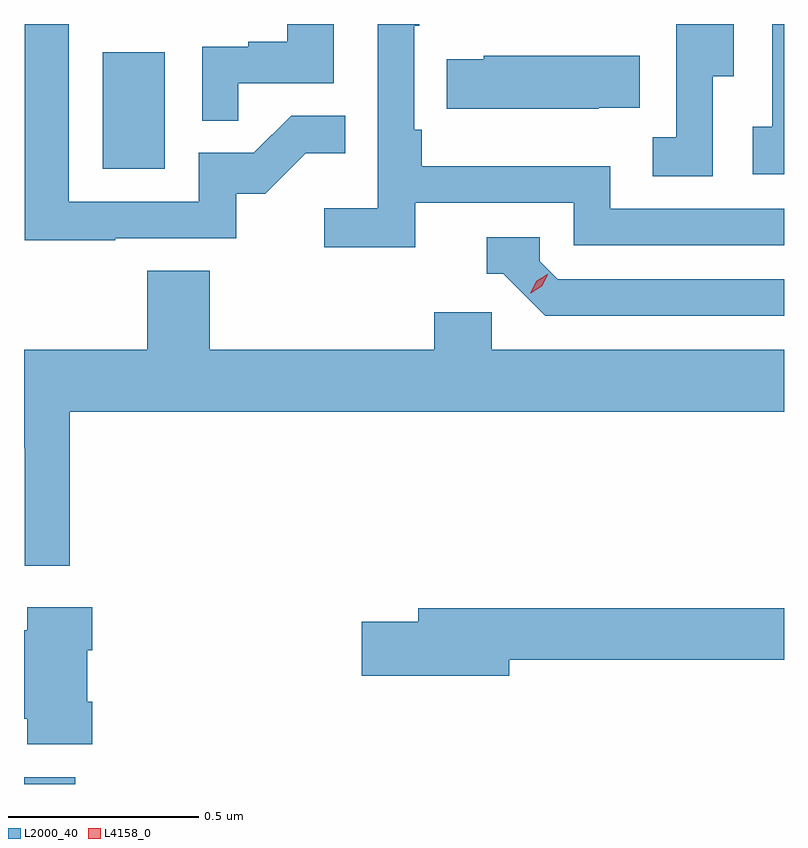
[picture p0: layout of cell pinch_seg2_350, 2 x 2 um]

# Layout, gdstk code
import gdstk
lib = gdstk.Library(unit=1e-6, precision=1e-09)
def R(c, l, rs):  # rectangles x0, y0, x1, y1
    for r in rs: c.add(gdstk.rectangle(r[:2], r[2:], *l))
def P(c, l, *ps):  # polygons
    for p in ps: c.add(gdstk.Polygon(p, *l))
L2000_40 = (2000, 40)
L4158_0 = (4158, 0)

pinch_seg2_350 = lib.new_cell('pinch_seg2_350')
R(pinch_seg2_350, L2000_40, [(993.839,641.329,993.974,641.347), (994.046,642.948,994.21,643.255)])
P(pinch_seg2_350, L2000_40, [(994.403,643.173),(994.654,643.173),(994.654,643.329),(994.532,643.329),(994.532,643.282),(994.429,643.282),(994.429,643.269),(994.308,643.269),(994.308,643.075),(994.403,643.075)],
  [(994.868,642.858),(995.286,642.858),(995.286,642.747),(995.839,642.747),(995.839,642.843),(995.382,642.843),(995.382,642.955),(994.886,642.955),(994.886,643.051),(994.866,643.051),(994.866,643.324),(994.879,643.324),(994.879,643.329),(994.77,643.329),(994.77,642.844),(994.629,642.844),(994.629,642.742),(994.868,642.742)],
  [(995.652,643.192),(995.707,643.192),(995.707,643.329),(995.556,643.329),(995.556,643.031),(995.493,643.031),(995.493,642.928),(995.652,642.928)],
  [(995.839,643.329),(995.808,643.329),(995.808,643.058),(995.757,643.058),(995.757,642.933),(995.839,642.933)],
  [(994.079,642.765),(994.398,642.765),(994.398,642.882),(994.474,642.882),(994.581,642.989),(994.685,642.989),(994.685,643.088),(994.542,643.088),(994.444,642.99),(994.299,642.99),(994.299,642.861),(993.957,642.861),(993.957,643.329),(993.841,643.329),(993.841,642.76),(994.079,642.76)],
  [(995.351,643.109),(995.459,643.109),(995.459,643.246),(995.049,643.246),(995.049,643.236),(994.951,643.236),(994.951,643.106),(995.351,643.106)],
  [(995.839,642.657),(995.244,642.657),(995.196,642.705),(995.196,642.768),(995.057,642.768),(995.057,642.672),(995.1,642.672),(995.211,642.561),(995.839,642.561)],
  [(993.959,642.308),(995.839,642.308),(995.839,642.472),(995.07,642.472),(995.07,642.57),(994.919,642.57),(994.919,642.472),(994.328,642.472),(994.328,642.68),(994.163,642.68),(994.163,642.472),(993.839,642.472),(993.839,642.212),(993.841,642.212),(993.841,641.904),(993.959,641.904)],
  [(994.019,641.545),(994.006,641.545),(994.006,641.681),(994.019,641.681),(994.019,641.794),(993.848,641.794),(993.848,641.734),(993.839,641.734),(993.839,641.501),(993.848,641.501),(993.848,641.433),(994.019,641.433)],
  [(995.116,641.656),(995.839,641.656),(995.839,641.792),(994.877,641.792),(994.877,641.756),(994.728,641.756),(994.728,641.614),(995.116,641.614)])
P(pinch_seg2_350, L4158_0, [(995.171,642.62),(995.171,642.621),(995.188,642.653),(995.219,642.672),(995.219,642.672),(995.219,642.672),(995.202,642.639),(995.172,642.62)])

lib.write_gds('pinch_seg2_350.gds')
